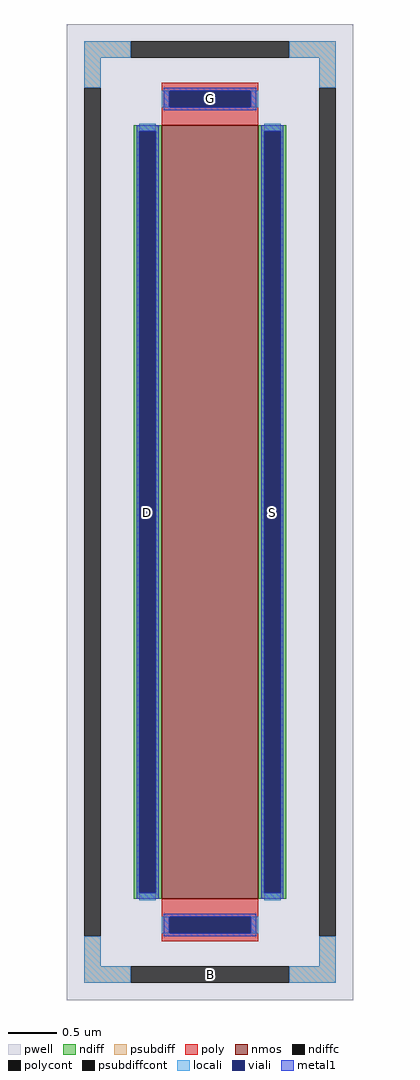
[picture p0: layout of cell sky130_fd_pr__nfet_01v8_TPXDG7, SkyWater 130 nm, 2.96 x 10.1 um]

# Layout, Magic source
magic
tech sky130A
magscale 1 2
<< pwell >>
rect -296 -1010 296 1010
<< nmos >>
rect -100 -800 100 800
<< ndiff >>
rect -158 788 -100 800
rect -158 -788 -146 788
rect -112 -788 -100 788
rect -158 -800 -100 -788
rect 100 788 158 800
rect 100 -788 112 788
rect 146 -788 158 788
rect 100 -800 158 -788
<< ndiffc >>
rect -146 -788 -112 788
rect 112 -788 146 788
<< psubdiff >>
rect -260 940 -164 974
rect 164 940 260 974
rect -260 878 -226 940
rect 226 878 260 940
rect -260 -940 -226 -878
rect 226 -940 260 -878
rect -260 -974 -164 -940
rect 164 -974 260 -940
<< psubdiffcont >>
rect -164 940 164 974
rect -260 -878 -226 878
rect 226 -878 260 878
rect -164 -974 164 -940
<< poly >>
rect -100 872 100 888
rect -100 838 -84 872
rect 84 838 100 872
rect -100 800 100 838
rect -100 -838 100 -800
rect -100 -872 -84 -838
rect 84 -872 100 -838
rect -100 -888 100 -872
<< polycont >>
rect -84 838 84 872
rect -84 -872 84 -838
<< locali >>
rect -260 940 -164 974
rect 164 940 260 974
rect -260 878 -226 940
rect 226 878 260 940
rect -100 838 -84 872
rect 84 838 100 872
rect -146 788 -112 804
rect -146 -804 -112 -788
rect 112 788 146 804
rect 112 -804 146 -788
rect -100 -872 -84 -838
rect 84 -872 100 -838
rect -260 -940 -226 -878
rect 226 -940 260 -878
rect -260 -974 -164 -940
rect 164 -974 260 -940
<< viali >>
rect -84 838 84 872
rect -146 -788 -112 788
rect 112 -788 146 788
rect -84 -872 84 -838
<< metal1 >>
rect -96 872 96 878
rect -96 838 -84 872
rect 84 838 96 872
rect -96 832 96 838
rect -152 788 -106 800
rect -152 -788 -146 788
rect -112 -788 -106 788
rect -152 -800 -106 -788
rect 106 788 152 800
rect 106 -788 112 788
rect 146 -788 152 788
rect 106 -800 152 -788
rect -96 -838 96 -832
rect -96 -872 -84 -838
rect 84 -872 96 -838
rect -96 -878 96 -872
<< labels >>
rlabel psubdiffcont 0 -957 0 -957 0 B
port 5 nsew
rlabel ndiffc -129 0 -129 0 0 D
port 6 nsew
rlabel ndiffc 129 0 129 0 0 S
port 7 nsew
rlabel polycont 0 855 0 855 0 G
port 8 nsew
<< properties >>
string FIXED_BBOX -243 -957 243 957
string gencell sky130_fd_pr__nfet_01v8
string library sky130
string parameters w 8 l 1 m 1 nf 1 diffcov 100 polycov 100 guard 1 glc 1 grc 1 gtc 1 gbc 1 tbcov 100 rlcov 100 topc 1 botc 1 poverlap 0 doverlap 1 lmin 0.15 wmin 0.42 class mosfet compatible {sky130_fd_pr__nfet_01v8 sky130_fd_pr__nfet_01v8_lvt  sky130_fd_bs_flash__special_sonosfet_star  sky130_fd_pr__nfet_g5v0d10v5 sky130_fd_pr__nfet_05v0_nvt  sky130_fd_pr__nfet_03v3_nvt} full_metal 1 conn_gates 0 viasrc 100 viadrn 100 viagate 100 viagb 0 viagr 0 viagl 0 viagt 0 doports 1
<< end >>
